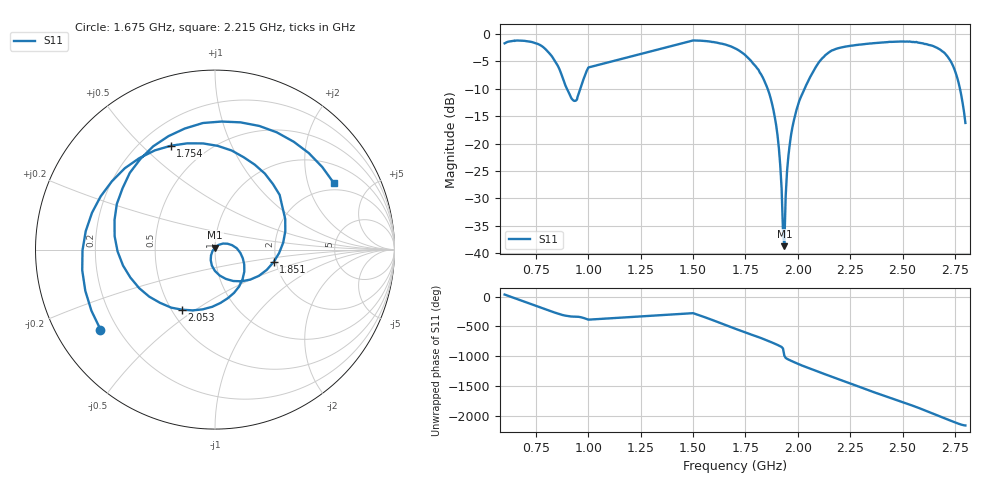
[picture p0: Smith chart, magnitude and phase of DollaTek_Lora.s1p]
!File created by NanoVNA
# Hz S RI R 50
!LO
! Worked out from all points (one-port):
!   402 points, 600 MHz to 2.8 GHz, reference 50 ohm
!   lowest |S11| = -38.7 dB at 1.935 GHz (marker M1), VSWR 1.02, Z = 50 + j1.16 ohm
!   |S11| at or under -10 dB: 897.6 MHz to 961.1 MHz (63.48 MHz wide, 6.83 % of centre); 1.856 GHz to 2.032 GHz (176.4 MHz wide, 9.07 % of centre); 2.774 GHz to end of sweep
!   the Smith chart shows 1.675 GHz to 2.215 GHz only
!   S11 on the Smith chart (normalised r, x): 1.675 GHz: 0.14, -0.31; 1.754 GHz: 0.32, +0.61; 1.851 GHz: 1.94, -0.30; 2.053 GHz: 0.56, -0.44; 2.215 GHz: 1.70, +2.96
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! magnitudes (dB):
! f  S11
! 600 MHz  -1.7
! 772 MHz  -2.1
! 828 MHz  -4.2
! 876 MHz  -7.9
! 936 MHz  -12.2
! 996 MHz  -6.4
! 1 GHz  -6.1
! 1.5 GHz  -1.2
! 1.513 GHz  -1.2
! 1.675 GHz  -2.2
! 1.702 GHz  -2.6
! 1.754 GHz  -4.0
! 1.851 GHz  -9.5
! 1.897 GHz  -16.6
! 1.909 GHz  -20.8
! 1.923 GHz  -28.2
! 1.935 GHz  -38.7
! 1.942 GHz  -29.5
! 1.962 GHz  -20.1
! 1.981 GHz  -15.8
! 2.053 GHz  -8.4
! 2.131 GHz  -3.9
! 2.215 GHz  -2.4
! 2.254 GHz  -2.1
! 2.527 GHz  -1.4
! 2.716 GHz  -4.1
! 2.761 GHz  -8.0
! 2.8 GHz  -16.2
